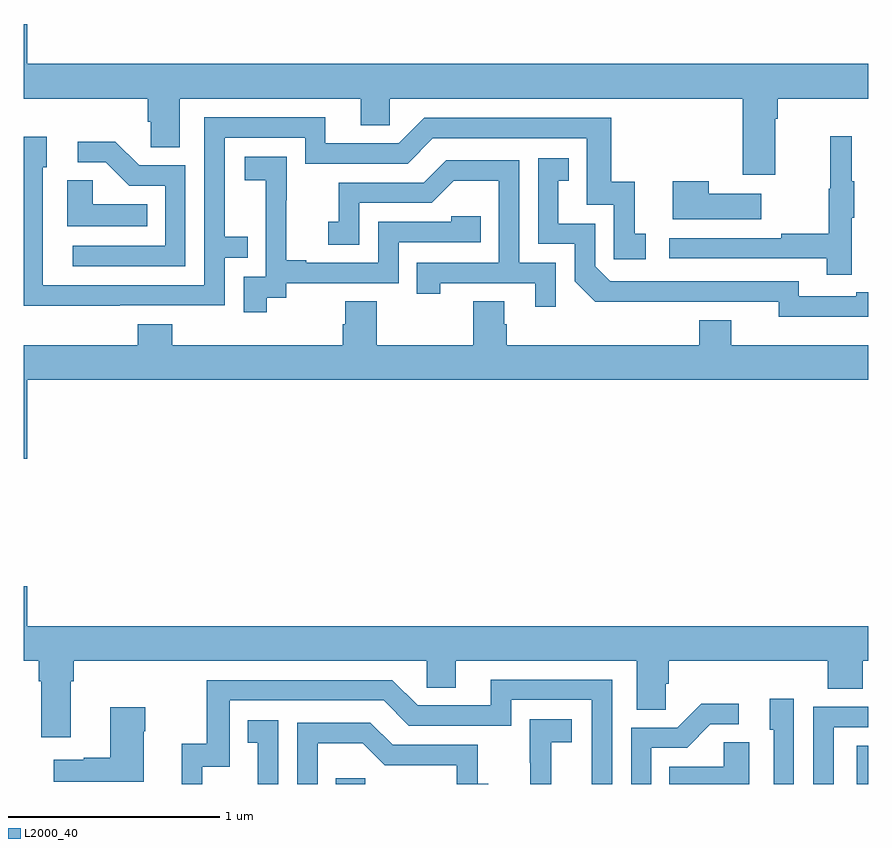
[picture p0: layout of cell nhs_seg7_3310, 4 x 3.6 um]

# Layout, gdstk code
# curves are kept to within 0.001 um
import gdstk
lib = gdstk.Library(unit=1e-6, precision=1e-09)
def R(c, l, rs):  # rectangles x0, y0, x1, y1
    for r in rs: c.add(gdstk.rectangle(r[:2], r[2:], *l))
def P(c, l, *ps):  # polygons
    for p in ps: c.add(gdstk.Polygon(p, *l))
L2000_40 = (2000, 40)

nhs_seg7_3310 = lib.new_cell('nhs_seg7_3310')
R(nhs_seg7_3310, L2000_40, [(322.477,1032,322.617,1032.027), (324.947,1032,325,1032.181)])
P(nhs_seg7_3310, L2000_40, [(324.559,1035.152),(324.572,1035.152),(324.572,1035.248),(325,1035.248),(325,1035.412),(321.016,1035.412),(321.016,1035.601),(321,1035.601),(321,1035.248),(321.587,1035.248),(321.587,1035.139),(321.6,1035.139),(321.6,1035.016),(321.739,1035.016),(321.739,1035.248),(322.595,1035.248),(322.595,1035.121),(322.734,1035.121),(322.734,1035.248),(324.407,1035.248),(324.407,1034.886),(324.559,1034.886)],
  [(321.455,1034.268),(321.951,1034.268),(321.951,1034.493),(322.061,1034.493),(322.061,1034.594),(321.951,1034.594),(321.951,1035.063),(322.332,1035.063),(322.332,1034.94),(322.818,1034.94),(322.938,1035.06),(323.667,1035.06),(323.667,1034.745),(323.796,1034.745),(323.796,1034.487),(323.947,1034.487),(323.947,1034.607),(323.894,1034.607),(323.894,1034.853),(323.783,1034.853),(323.783,1035.156),(322.896,1035.156),(322.776,1035.036),(322.429,1035.036),(322.429,1035.159),(321.855,1035.159),(321.855,1034.364),(321.09,1034.364),(321.09,1034.922),(321.109,1034.922),(321.109,1035.067),(321,1035.067),(321,1034.267)],
  [(324.923,1034.683),(324.934,1034.683),(324.934,1034.857),(324.923,1034.857),(324.923,1035.07),(324.82,1035.07),(324.82,1034.82),(324.813,1034.82),(324.813,1034.606),(324.589,1034.606),(324.589,1034.586),(324.057,1034.586),(324.057,1034.49),(324.805,1034.49),(324.805,1034.412),(324.923,1034.412)],
  [(321.765,1034.931),(321.546,1034.931),(321.433,1035.044),(321.255,1035.044),(321.255,1034.946),(321.389,1034.946),(321.5,1034.835),(321.669,1034.835),(321.669,1034.55),(321.231,1034.55),(321.231,1034.454),(321.765,1034.454)],
  [(322.15,1034.305),(322.242,1034.305),(322.242,1034.373),(322.776,1034.373),(322.776,1034.568),(323.165,1034.568),(323.165,1034.691),(323.025,1034.691),(323.025,1034.664),(322.68,1034.664),(322.68,1034.469),(322.339,1034.469),(322.339,1034.482),(322.244,1034.482),(322.244,1034.765),(322.245,1034.765),(322.245,1034.971),(322.047,1034.971),(322.047,1034.861),(322.145,1034.861),(322.145,1034.632),(322.146,1034.632),(322.146,1034.403),(322.041,1034.403),(322.041,1034.235),(322.15,1034.235)],
  [(324.944,1034.214),(325,1034.214),(325,1034.33),(324.944,1034.33),(324.944,1034.31),(324.672,1034.31),(324.672,1034.382),(323.778,1034.382),(323.706,1034.454),(323.706,1034.655),(323.533,1034.655),(323.533,1034.859),(323.582,1034.859),(323.582,1034.965),(323.436,1034.965),(323.436,1034.559),(323.61,1034.559),(323.61,1034.382),(323.708,1034.285),(324.576,1034.286),(324.576,1034.213)],
  [(323.52,1034.469),(323.346,1034.469),(323.346,1034.955),(323,1034.955),(322.895,1034.85),(322.492,1034.85),(322.492,1034.665),(322.443,1034.665),(322.443,1034.555),(322.59,1034.555),(322.59,1034.754),(322.932,1034.754),(323.036,1034.858),(323.25,1034.858),(323.25,1034.469),(322.861,1034.469),(322.861,1034.322),(322.972,1034.322),(322.972,1034.373),(323.423,1034.373),(323.423,1034.262),(323.52,1034.262)],
  [(321.584,1034.746),(321.327,1034.746),(321.327,1034.861),(321.206,1034.861),(321.206,1034.642),(321.584,1034.642)],
  [(324.493,1034.797),(324.245,1034.797),(324.245,1034.857),(324.074,1034.857),(324.074,1034.675),(324.493,1034.675)],
  [(321.016,1033.916),(325,1033.916),(325,1034.08),(324.352,1034.08),(324.352,1034.197),(324.2,1034.197),(324.2,1034.08),(323.288,1034.08),(323.288,1034.178),(323.275,1034.178),(323.275,1034.288),(323.128,1034.288),(323.128,1034.08),(322.671,1034.08),(322.671,1034.288),(322.523,1034.288),(322.523,1034.178),(322.511,1034.178),(322.511,1034.08),(321.704,1034.08),(321.704,1034.179),(321.539,1034.179),(321.539,1034.08),(321,1034.08),(321,1033.542),(321.016,1033.542)],
  [(321.016,1032.937),(321,1032.937),(321,1032.584),(321.071,1032.584),(321.071,1032.488),(321.083,1032.488),(321.083,1032.222),(321.223,1032.222),(321.223,1032.488),(321.236,1032.488),(321.236,1032.584),(322.908,1032.584),(322.908,1032.457),(323.047,1032.457),(323.047,1032.584),(323.903,1032.584),(323.903,1032.352),(324.042,1032.352),(324.042,1032.475),(324.056,1032.475),(324.056,1032.584),(324.809,1032.584),(324.809,1032.451),(324.974,1032.451),(324.974,1032.584),(325,1032.584),(325,1032.748),(321.016,1032.748)],
  [(321.846,1032.081),(321.975,1032.081),(321.975,1032.396),(322.704,1032.396),(322.824,1032.276),(323.31,1032.276),(323.31,1032.399),(323.691,1032.399),(323.691,1032),(323.787,1032),(323.787,1032.495),(323.213,1032.495),(323.213,1032.372),(322.866,1032.372),(322.746,1032.492),(321.867,1032.492),(321.867,1032.19),(321.749,1032.19),(321.749,1032),(321.846,1032)],
  [(324.648,1032.403),(324.533,1032.403),(324.533,1032.258),(324.552,1032.258),(324.552,1032),(324.648,1032)],
  [(323.973,1032.171),(324.142,1032.171),(324.253,1032.282),(324.388,1032.282),(324.388,1032.38),(324.209,1032.38),(324.096,1032.267),(323.877,1032.267),(323.877,1032),(323.973,1032)],
  [(324.837,1032.27),(325,1032.27),(325,1032.366),(324.741,1032.366),(324.741,1032),(324.837,1032)],
  [(321.568,1032.251),(321.576,1032.251),(321.576,1032.364),(321.41,1032.364),(321.41,1032.125),(321.284,1032.125),(321.284,1032.115),(321.141,1032.115),(321.141,1032.011),(321.568,1032.011)],
  [(323.498,1032.197),(323.596,1032.197),(323.596,1032.307),(323.398,1032.307),(323.398,1032.101),(323.399,1032.101),(323.399,1032),(323.498,1032)],
  [(322.206,1032.301),(322.06,1032.301),(322.06,1032.195),(322.109,1032.195),(322.109,1032),(322.206,1032)],
  [(322.392,1032.194),(322.606,1032.194),(322.71,1032.09),(323.052,1032.09),(323.052,1032),(323.2,1032),(323.151,1032.001),(323.151,1032.186),(322.747,1032.186),(322.642,1032.291),(322.296,1032.291),(322.296,1032),(322.392,1032)],
  [(324.436,1032.197),(324.315,1032.197),(324.315,1032.082),(324.058,1032.082),(324.058,1032),(324.436,1032)])

lib.write_gds('nhs_seg7_3310.gds')
